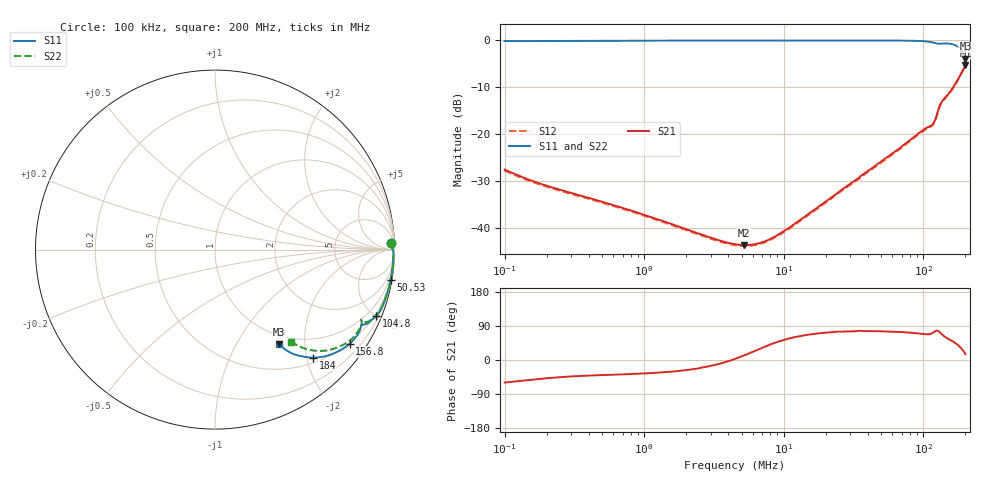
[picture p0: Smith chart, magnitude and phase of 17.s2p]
#  HZ  S  RI  R  50.00
! Rohde & Schwarz Vector Network Analyzer
! Rohde-Schwarz,ZNLE6-2Port,1323001256200024,1.71.1.10-23.02.1.238
! Created: UTC 4/8/2025, 3:52:44 AM
! freq[Hz]  re:S11  im:S11  re:S21  im:S21  re:S12  im:S12  re:S22  im:S22
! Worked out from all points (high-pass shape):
!   1001 points, 100 kHz to 200 MHz, reference 50 ohm
!   highest |S21| = -5.39 dB at 200 MHz (marker M1); lowest = -43.7 dB at 5.206 MHz (marker M2)
!   |S21| within 3 dB of the highest: 176.7 MHz to end of sweep
!   lowest |S11| = -3.9 dB at 200 MHz (marker M3), VSWR 4.49, Z = 43.3 - j76.3 ohm
!   |S11| at or under -10 dB: nowhere
!   |S22| runs from -3.5 to 0.0 dB; largest |S21 - S12| = 0.007
!   S11 on the Smith chart (normalised r, x): 100 kHz: 23, +42; 50.53 MHz: 0, -12; 104.8 MHz: 0.38, -5.01; 156.8 MHz: 0.48, -3.10; 184 MHz: 0.60, -2.12; 200 MHz: 0.87, -1.53
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100000  0.9792 0.0356  0.0211 -0.0359  0.0206 -0.035  0.9797 0.0346
175499.6  0.981 0.0223  0.0192 -0.0229  0.0187 -0.0223  0.9815 0.0218
355854.1  0.9838 0.0137  0.0163 -0.0146  0.0158 -0.0142  0.9844 0.0134
1266322  0.9898 0.00358  0.0102 -0.00671  0.00995 -0.00656  0.9901 0.00372
4472136  0.9931 -0.0112  0.00664 0.000336  0.00647 0.000246  0.9936 -0.00997
5206377  0.9937 -0.0142  0.00635 0.0014  0.00623 0.00124  0.9937 -0.0126
6441165  0.9936 -0.0183  0.00603 0.003  0.0059 0.00289  0.994 -0.0173
7968806  0.9939 -0.0241  0.00573 0.00494  0.00567 0.00471  0.9942 -0.0223
1.071849e7  0.9942 -0.0337  0.00543 0.00812  0.00557 0.0078  0.9943 -0.0314
1.591428e7  0.9934 -0.0513  0.00555 0.0138  0.00555 0.0134  0.9938 -0.0484
2.968052e7  0.9897 -0.0977  0.00732 0.0283  0.00719 0.0275  0.9903 -0.0927
5.052933e7  0.9787 -0.1691  0.0128 0.05  0.0134 0.0484  0.9805 -0.16
5.663162e7  0.9743 -0.1904  0.0151 0.0563  0.0158 0.0544  0.9764 -0.1802
8.281529e7  0.9454 -0.2842  0.0279 0.0846  0.0286 0.0818  0.9495 -0.2703
1.048196e8  0.8977 -0.3707  0.0436 0.1075  0.0442 0.104  0.9069 -0.3539
1.174784e8  0.8529 -0.4089  0.0387 0.1228  0.0393 0.1199  0.8575 -0.3989
1.267559e8  0.8196 -0.4195  0.0385 0.1682  0.0399 0.1635  0.8147 -0.395
1.357305e8  0.8121 -0.435  0.0841 0.2047  0.0837 0.1993  0.8175 -0.3996
1.568184e8  0.7499 -0.5255  0.1752 0.2279  0.1726 0.2227  0.7749 -0.4847
1.704937e8  0.6668 -0.5761  0.2503 0.2415  0.2473 0.236  0.7013 -0.5372
1.83958e8  0.5455 -0.6016  0.3547 0.2338  0.3509 0.2288  0.5932 -0.5643
2e8  0.3574 -0.5254  0.5181 0.1442  0.512 0.1416  0.4244 -0.512
